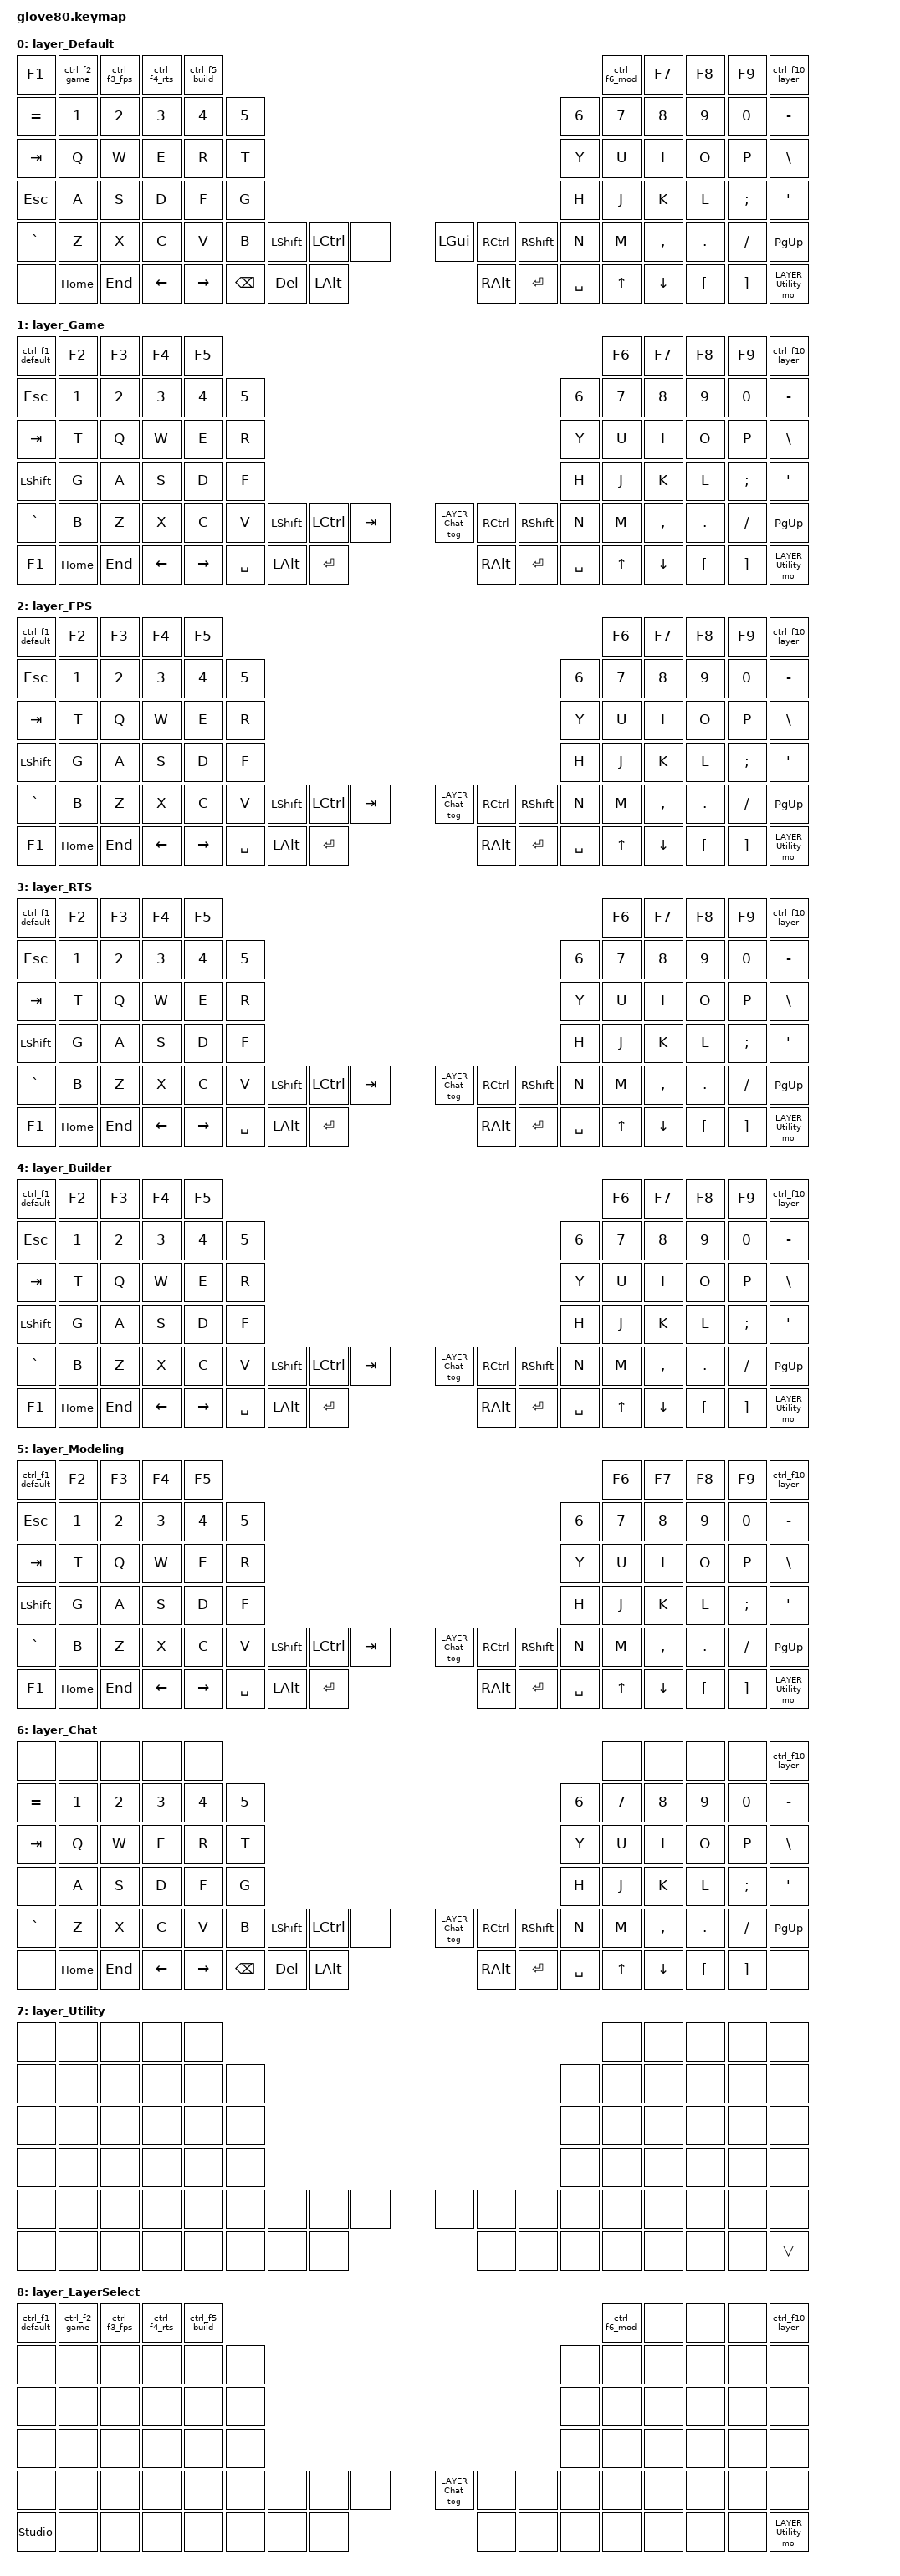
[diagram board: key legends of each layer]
/*
 * Copyright (c) 2020 The ZMK Contributors
 * Copyright (c) 2025 Innaworks Development Limited, trading as MoErgo
 *
 * SPDX-License-Identifier: MIT
 */


/* THIS FILE WAS GENERATED BY GLOVE80 LAYOUT EDITOR
 *
 * This file was generated automatically. You may or may not want to
 * edit it directly.
 */

#include <behaviors.dtsi>
/* Include all behavior includes needed */
#include <dt-bindings/zmk/outputs.h>
#include <dt-bindings/zmk/keys.h>
#include <dt-bindings/zmk/bt.h>
#include <dt-bindings/zmk/rgb.h>
#include <dt-bindings/zmk/studio.h>

/* On demand includes */


/* Helper Macros, based on https://github.com/urob/zmk-helpers/ */

//#pragma once

#define ZMK_HELPER_STRINGIFY(x) #x

// Preprocessor mechanism to overload macros, cf. https://stackoverflow.com/a/27051616/6114651
#define VARGS_(_10, _9, _8, _7, _6, _5, _4, _3, _2, _1, N, ...) N
#define VARGS(...) VARGS_(__VA_ARGS__, 10, 9, 8, 7, 6, 5, 4, 3, 2, 1, 0)
#define CONCAT_(a, b) a##b
#define CONCAT(a, b) CONCAT_(a, b)

#define ZMK_BEHAVIOR_CORE_tap_dance  \
    compatible = "zmk,behavior-tap-dance"; \
    #binding-cells = <0>

#define ZMK_BEHAVIOR(name, type, ...) \
    name: name { \
        ZMK_BEHAVIOR_CORE_ ## type; \
        __VA_ARGS__ \
    };

#define ZMK_TAP_DANCE(name, ...) \
    ZMK_BEHAVIOR(name, tap_dance, __VA_ARGS__)

#define ZMK_TD_LAYER(name, layer) \
    ZMK_TAP_DANCE(name, \
        tapping-term-ms = <200>; \
        bindings = <&mo layer>, <&to layer>; \
)

//My custom defines
#define CTRL_FKEY(name, key, layer) \
    name: name { \
        compatible = "zmk,behavior-mod-morph"; \
        label = ZMK_HELPER_STRINGIFY(name); \
        #binding-cells = <0>; \
        mods = <(MOD_LCTL | MOD_RCTL)>; \
        bindings = <&kp key>, <&to layer>; \
    };

/* Automatically generated layer name #define */
#define LAYER_Default 0
#define LAYER_Game 1
#define LAYER_FPS 2
#define LAYER_RTS 3
#define LAYER_Builder 4
#define LAYER_Modeling 5
#define LAYER_Chat 6
#define LAYER_Utility 7
#define LAYER_LayerSelect 8

/* To deal with the situation where there is no Lower layer, to keep &lower happy */
#ifndef LAYER_Lower
#define LAYER_Lower 0
#endif

/* Custom Device-tree */


/* Input Listeners */


/* System behavior and Macros */
/ {
    behaviors {
        ZMK_TD_LAYER(lower, LAYER_Lower)
        CTRL_FKEY(ctrl_f1_default, F1, LAYER_Default)
        CTRL_FKEY(ctrl_f2_game, F2, LAYER_Game)
        CTRL_FKEY(ctrl_f3_fps, F3, LAYER_FPS)
        CTRL_FKEY(ctrl_f4_rts, F4, LAYER_RTS)
        CTRL_FKEY(ctrl_f5_build, F5, LAYER_Builder)
        CTRL_FKEY(ctrl_f6_mod, F6, LAYER_Modeling)
        //CTRL_FKEY(ctrl_f7, F7, temp)
        //CTRL_FKEY(ctrl_f8, F8, temp)
        //CTRL_FKEY(ctrl_f9, F9, temp)
        CTRL_FKEY(ctrl_f10_layer, F10, LAYER_LayerSelect)
        //CTRL_FKEY(ctrl_f11, F11, temp)
        //CTRL_FKEY(ctrl_f12, F12, temp)
    };
};

/ {
    macros {
        rgb_ug_status_macro: rgb_ug_status_macro {
            label = "RGB_UG_STATUS";
            compatible = "zmk,behavior-macro";
            #binding-cells = <0>;
            bindings
                = <&rgb_ug RGB_STATUS>;
        };
    };
};


/ {
#ifdef BT_DISC_CMD
    behaviors {
        bt_0: bt_0 {
            compatible = "zmk,behavior-tap-dance";
            label = "BT_0";
            #binding-cells = <0>;
            tapping-term-ms = <200>;
            bindings = <&bt_select_0>, <&bt BT_DISC 0>;
        };
        bt_1: bt_1 {
            compatible = "zmk,behavior-tap-dance";
            label = "BT_1";
            #binding-cells = <0>;
            tapping-term-ms = <200>;
            bindings = <&bt_select_1>, <&bt BT_DISC 1>;
        };
        bt_2: bt_2 {
            compatible = "zmk,behavior-tap-dance";
            label = "BT_2";
            #binding-cells = <0>;
            tapping-term-ms = <200>;
            bindings = <&bt_select_2>, <&bt BT_DISC 2>;
        };
        bt_3: bt_3 {
            compatible = "zmk,behavior-tap-dance";
            label = "BT_3";
            #binding-cells = <0>;
            tapping-term-ms = <200>;
            bindings = <&bt_select_3>, <&bt BT_DISC 3>;
        };
    };
    macros {
        bt_select_0: bt_select_0 {
            label = "BT_SELECT_0";
            compatible = "zmk,behavior-macro";
            #binding-cells = <0>;
            bindings
                = <&out OUT_BLE>,
                  <&bt BT_SEL 0>;
        };
        bt_select_1: bt_select_1 {
            label = "BT_SELECT_1";
            compatible = "zmk,behavior-macro";
            #binding-cells = <0>;
            bindings
                = <&out OUT_BLE>,
                  <&bt BT_SEL 1>;
        };
        bt_select_2: bt_select_2 {
            label = "BT_SELECT_2";
            compatible = "zmk,behavior-macro";
            #binding-cells = <0>;
            bindings
                = <&out OUT_BLE>,
                  <&bt BT_SEL 2>;
        };
        bt_select_3: bt_select_3 {
            label = "BT_SELECT_3";
            compatible = "zmk,behavior-macro";
            #binding-cells = <0>;
            bindings
                = <&out OUT_BLE>,
                  <&bt BT_SEL 3>;
        };
    };
#else
    macros {
        bt_0: bt_0 {
            label = "BT_0";
            compatible = "zmk,behavior-macro";
            #binding-cells = <0>;
            bindings
                = <&out OUT_BLE>,
                  <&bt BT_SEL 0>;
        };
        bt_1: bt_1 {
            label = "BT_1";
            compatible = "zmk,behavior-macro";
            #binding-cells = <0>;
            bindings
                = <&out OUT_BLE>,
                  <&bt BT_SEL 1>;
        };
        bt_2: bt_2 {
            label = "BT_2";
            compatible = "zmk,behavior-macro";
            #binding-cells = <0>;
            bindings
                = <&out OUT_BLE>,
                  <&bt BT_SEL 2>;
        };
        bt_3: bt_3 {
            label = "BT_3";
            compatible = "zmk,behavior-macro";
            #binding-cells = <0>;
            bindings
                = <&out OUT_BLE>,
                  <&bt BT_SEL 3>;
        };
    };
#endif
};

/ {
    behaviors {
        magic: magic {
            compatible = "zmk,behavior-hold-tap";
            label = "MAGIC_HOLD_TAP";
            #binding-cells = <2>;
            flavor = "tap-preferred";
            tapping-term-ms = <200>;
            bindings = <&mo>, <&rgb_ug_status_macro>;
        };
    };
};


/* Key positions */

#define POS_LH_C6R1 0
#define POS_LH_C5R1 1
#define POS_LH_C4R1 2
#define POS_LH_C3R1 3
#define POS_LH_C2R1 4
#define POS_RH_C2R1 5
#define POS_RH_C3R1 6
#define POS_RH_C4R1 7
#define POS_RH_C5R1 8
#define POS_RH_C6R1 9
#define POS_LH_C6R2 10
#define POS_LH_C5R2 11
#define POS_LH_C4R2 12
#define POS_LH_C3R2 13
#define POS_LH_C2R2 14
#define POS_LH_C1R2 15
#define POS_RH_C1R2 16
#define POS_RH_C2R2 17
#define POS_RH_C3R2 18
#define POS_RH_C4R2 19
#define POS_RH_C5R2 20
#define POS_RH_C6R2 21
#define POS_LH_C6R3 22
#define POS_LH_C5R3 23
#define POS_LH_C4R3 24
#define POS_LH_C3R3 25
#define POS_LH_C2R3 26
#define POS_LH_C1R3 27
#define POS_RH_C1R3 28
#define POS_RH_C2R3 29
#define POS_RH_C3R3 30
#define POS_RH_C4R3 31
#define POS_RH_C5R3 32
#define POS_RH_C6R3 33
#define POS_LH_C6R4 34
#define POS_LH_C5R4 35
#define POS_LH_C4R4 36
#define POS_LH_C3R4 37
#define POS_LH_C2R4 38
#define POS_LH_C1R4 39
#define POS_RH_C1R4 40
#define POS_RH_C2R4 41
#define POS_RH_C3R4 42
#define POS_RH_C4R4 43
#define POS_RH_C5R4 44
#define POS_RH_C6R4 45
#define POS_LH_C6R5 46
#define POS_LH_C5R5 47
#define POS_LH_C4R5 48
#define POS_LH_C3R5 49
#define POS_LH_C2R5 50
#define POS_LH_C1R5 51
#define POS_LH_T1 52
#define POS_LH_T2 53
#define POS_LH_T3 54
#define POS_RH_T3 55
#define POS_RH_T2 56
#define POS_RH_T1 57
#define POS_RH_C1R5 58
#define POS_RH_C2R5 59
#define POS_RH_C3R5 60
#define POS_RH_C4R5 61
#define POS_RH_C5R5 62
#define POS_RH_C6R5 63
#define POS_LH_C6R6 64
#define POS_LH_C5R6 65
#define POS_LH_C4R6 66
#define POS_LH_C3R6 67
#define POS_LH_C2R6 68
#define POS_LH_T4 69
#define POS_LH_T5 70
#define POS_LH_T6 71
#define POS_RH_T6 72
#define POS_RH_T5 73
#define POS_RH_T4 74
#define POS_RH_C2R6 75
#define POS_RH_C3R6 76
#define POS_RH_C4R6 77
#define POS_RH_C5R6 78
#define POS_RH_C6R6 79


/* Custom Defined Behaviors */
/ {

};

/* Generated input processors */


/* Automatically generated macro definitions */
/ {
    macros {

    };
};

/* Automatically generated behavior definitions */
/ {
    behaviors {


    };
};
//Custom LED setup
/ {
    rgb_segments {

        /* ===== Core layer colors (F-key identity LEDs) ===== */

        ls_default: ls_default{
            compatible = "zmk,rgb-segment";
            leds = <34>;                 /* F1 */
            color = <117 117 117>;       /* DEFAULT – Sonic Silver */
        };

        ls_def_game: ls_def_game{
            compatible = "zmk,rgb-segment";
            leds = <28>;                 /* F2 */
            color = <102 51 153>;        /* GAME – Rebecca Purple */
        };

        ls_game: ls_game{
            compatible = "zmk,rgb-segment";
            leds = <34>;                 /* F1 */
            color = <102 51 153>;        /* GAME – Rebecca Purple */
        };

        ls_def_fps: ls_def_fps{
            compatible = "zmk,rgb-segment";
            leds = <22>;                 /* F3 */
            color = <255 0 0>;           /* FPS – Red */
        };

        ls_fps: ls_fps{
            compatible = "zmk,rgb-segment";
            leds = <34>;                 /* F1 */
            color = <255 0 0>;           /* FPS – Red */
        };

        ls_def_rts: ls_def_rts{
            compatible = "zmk,rgb-segment";
            leds = <16>;                 /* F4 */
            color = <0 0 255>;           /* RTS – Blue */
        };

        ls_rts: ls_rts{
            compatible = "zmk,rgb-segment";
            leds = <34>;                 /* F1 */
            color = <0 0 255>;           /* RTS – Blue */
        };

        ls_def_builder: ls_def_builder{
            compatible = "zmk,rgb-segment";
            leds = <10>;                 /* F5 */
            color = <118 255 122>;       /* BUILDER – Screamin Green */
        };

        ls_builder: ls_builder{
            compatible = "zmk,rgb-segment";
            leds = <34>;                 /* F1 */
            color = <118 255 122>;       /* BUILDER – Screamin Green */
        };

        /* ===== Overlay / mode colors (F1 indicator, RHS placeholder) ===== */

        ls_modeling: ls_modeling{
            compatible = "zmk,rgb-segment";
            leds = <34>;                 /* F1 */
            color = <252 194 0>;         /* MODELING – Golden Poppy */
        };

        ls_chat: ls_chat{
            compatible = "zmk,rgb-segment";
            leds = <34>;                 /* F1 */
            color = <10 186 181>;        /* CHAT – Teal */
        };

        ls_utility: ls_utility{
            compatible = "zmk,rgb-segment";
            leds = <34>;                 /* F1 */
            color = <72 61 139>;         /* UTILITY – Cyan */
        };

        /* ===== LayerSelect letter keys (placeholders until RHS mapping) ===== */

        ls_ls_default: ls_ls_default {
            compatible = "zmk,rgb-segment";
            leds = <24>;
            color = <117 117 117>;
        }; /* W */
        ls_ls_game: ls_ls_game   {
            compatible = "zmk,rgb-segment";
            leds = <18>;
            color = <102 51 153>;
        }; /* E */
        ls_ls_fps: ls_ls_fps    { 
            compatible = "zmk,rgb-segment";
            leds = <12>; 
            color = <255 0 0>;
        };    /* R */
        ls_ls_rts: ls_ls_rts    { 
            compatible = "zmk,rgb-segment";
            leds = <25>;
            color = <0 0 255>;
        };    /* S */
        ls_ls_build: ls_ls_build  {
            compatible = "zmk,rgb-segment"; 
            leds = <19>;
            color = <118 255 122>;
        };/* D */
        ls_ls_model: ls_ls_model   {
            compatible = "zmk,rgb-segment";
            leds = <13>;
            color = <252 194 0>;
        };  /* G */
    };
};


/ {
    rgb_layers {

        /* ===== DEFAULT: F1–F5 show destination layer colors ===== */
        rgb_default {
            layer = <LAYER_Default>;
            segments = <
                &ls_default
                &ls_def_game
                &ls_def_fps
                &ls_def_rts
                &ls_def_builder

                &ls_ls_default
                &ls_ls_game
                &ls_ls_fps
                &ls_ls_rts
                &ls_ls_build
                &ls_ls_model
            >;
        };

        /* ===== GAME / FPS / RTS / BUILDER: F1 shows current layer ===== */

        rgb_game {
            layer = <LAYER_Game>;
            segments = <&ls_game>;
        };

        rgb_fps {
            layer = <LAYER_FPS>;
            segments = <&ls_fps>;
        };

        rgb_rts {
            layer = <LAYER_RTS>;
            segments = <&ls_rts>;
        };

        rgb_builder {
            layer = <LAYER_Builder>;
            segments = <&ls_builder>;
        };

        /* ===== MODELING / CHAT / UTILITY: F1 identity indicator ===== */

        rgb_modeling {
            layer = <LAYER_Modeling>;
            segments = <&ls_modeling>;
        };

        rgb_chat {
            layer = <LAYER_Chat>;
            segments = <&ls_chat>;
        };

        rgb_utility {
            layer = <LAYER_Utility>;
            segments = <&ls_utility>;
        };

        /* ===== LAYERSELECT: DEFAULT behavior + routing keys ===== */

        rgb_layerselect {
            layer = <LAYER_LayerSelect>;
            segments = <
                /* F1–F5 legend */
                &ls_default
                &ls_def_game
                &ls_def_fps
                &ls_def_rts
                &ls_def_builder

                /* Letter-key routing */
                &ls_ls_default
                &ls_ls_game
                &ls_ls_fps
                &ls_ls_rts
                &ls_ls_build
                &ls_ls_model
            >;
        };
    };
};


/* Automatically generated combos definitions */


/* Automatically generated keymap */
/ {
    keymap {
        compatible = "zmk,keymap";


        layer_Default {
            bindings = <
    &kp F1  &ctrl_f2_game  &ctrl_f3_fps  &ctrl_f4_rts  &ctrl_f5_build                                                                                  &ctrl_f6_mod     &kp F7    &kp F8    &kp F9  &ctrl_f10_layer
 &kp EQUAL          &kp N1         &kp N2         &kp N3             &kp N4  &kp N5                                                                  &kp N6              &kp N7     &kp N8    &kp N9    &kp N0              &kp MINUS
   &kp TAB           &kp Q          &kp W          &kp E              &kp R   &kp T                                                                   &kp Y               &kp U      &kp I     &kp O     &kp P               &kp BSLH
   &kp ESC           &kp A          &kp S          &kp D              &kp F   &kp G                                                                   &kp H               &kp J      &kp K     &kp L  &kp SEMI                &kp SQT
 &kp GRAVE           &kp Z          &kp X          &kp C              &kp V   &kp B  &kp LSHFT  &kp LCTRL     &none  &kp LGUI  &kp RCTRL  &kp RSHFT   &kp N               &kp M  &kp COMMA   &kp DOT  &kp FSLH              &kp PG_UP
     &none        &kp HOME        &kp END       &kp LEFT          &kp RIGHT           &kp BSPC    &kp DEL  &kp LALT  &kp RALT    &kp RET  &kp SPACE                      &kp UP   &kp DOWN  &kp LBKT  &kp RBKT      &mo LAYER_Utility
            >;
        };

        layer_Game {
            bindings = <
     &ctrl_f1_default    &kp F2   &kp F3    &kp F4     &kp F5                                                                                        &kp F6     &kp F7    &kp F8    &kp F9  &ctrl_f10_layer
   &kp ESC    &kp N1   &kp N2    &kp N3     &kp N4  &kp N5                                                                        &kp N6  &kp N7     &kp N8    &kp N9    &kp N0              &kp MINUS
   &kp TAB     &kp T    &kp Q     &kp W      &kp E   &kp R                                                                         &kp Y   &kp U      &kp I     &kp O     &kp P               &kp BSLH
 &kp LSHFT     &kp G    &kp A     &kp S      &kp D   &kp F                                                                         &kp H   &kp J      &kp K     &kp L  &kp SEMI                &kp SQT
 &kp GRAVE     &kp B    &kp Z     &kp X      &kp C   &kp V  &kp LSHFT  &kp LCTRL  &kp TAB  &tog LAYER_Chat  &kp RCTRL  &kp RSHFT   &kp N   &kp M  &kp COMMA   &kp DOT  &kp FSLH              &kp PG_UP
    &kp F1  &kp HOME  &kp END  &kp LEFT  &kp RIGHT          &kp SPACE   &kp LALT  &kp RET         &kp RALT    &kp RET  &kp SPACE          &kp UP   &kp DOWN  &kp LBKT  &kp RBKT      &mo LAYER_Utility
            >;
        };

        layer_FPS {
            bindings = <
     &ctrl_f1_default    &kp F2   &kp F3    &kp F4     &kp F5                                                                                        &kp F6     &kp F7    &kp F8    &kp F9  &ctrl_f10_layer
   &kp ESC    &kp N1   &kp N2    &kp N3     &kp N4  &kp N5                                                                        &kp N6  &kp N7     &kp N8    &kp N9    &kp N0              &kp MINUS
   &kp TAB     &kp T    &kp Q     &kp W      &kp E   &kp R                                                                         &kp Y   &kp U      &kp I     &kp O     &kp P               &kp BSLH
 &kp LSHFT     &kp G    &kp A     &kp S      &kp D   &kp F                                                                         &kp H   &kp J      &kp K     &kp L  &kp SEMI                &kp SQT
 &kp GRAVE     &kp B    &kp Z     &kp X      &kp C   &kp V  &kp LSHFT  &kp LCTRL  &kp TAB  &tog LAYER_Chat  &kp RCTRL  &kp RSHFT   &kp N   &kp M  &kp COMMA   &kp DOT  &kp FSLH              &kp PG_UP
    &kp F1  &kp HOME  &kp END  &kp LEFT  &kp RIGHT          &kp SPACE   &kp LALT  &kp RET         &kp RALT    &kp RET  &kp SPACE          &kp UP   &kp DOWN  &kp LBKT  &kp RBKT      &mo LAYER_Utility
            >;
        };

        layer_RTS {
            bindings = <
     &ctrl_f1_default    &kp F2   &kp F3    &kp F4     &kp F5                                                                                        &kp F6     &kp F7    &kp F8    &kp F9  &ctrl_f10_layer
   &kp ESC    &kp N1   &kp N2    &kp N3     &kp N4  &kp N5                                                                        &kp N6  &kp N7     &kp N8    &kp N9    &kp N0              &kp MINUS
   &kp TAB     &kp T    &kp Q     &kp W      &kp E   &kp R                                                                         &kp Y   &kp U      &kp I     &kp O     &kp P               &kp BSLH
 &kp LSHFT     &kp G    &kp A     &kp S      &kp D   &kp F                                                                         &kp H   &kp J      &kp K     &kp L  &kp SEMI                &kp SQT
 &kp GRAVE     &kp B    &kp Z     &kp X      &kp C   &kp V  &kp LSHFT  &kp LCTRL  &kp TAB  &tog LAYER_Chat  &kp RCTRL  &kp RSHFT   &kp N   &kp M  &kp COMMA   &kp DOT  &kp FSLH              &kp PG_UP
    &kp F1  &kp HOME  &kp END  &kp LEFT  &kp RIGHT          &kp SPACE   &kp LALT  &kp RET         &kp RALT    &kp RET  &kp SPACE          &kp UP   &kp DOWN  &kp LBKT  &kp RBKT      &mo LAYER_Utility
            >;
        };

        layer_Builder {
            bindings = <
     &ctrl_f1_default    &kp F2   &kp F3    &kp F4     &kp F5                                                                                        &kp F6     &kp F7    &kp F8    &kp F9  &ctrl_f10_layer
   &kp ESC    &kp N1   &kp N2    &kp N3     &kp N4  &kp N5                                                                        &kp N6  &kp N7     &kp N8    &kp N9    &kp N0              &kp MINUS
   &kp TAB     &kp T    &kp Q     &kp W      &kp E   &kp R                                                                         &kp Y   &kp U      &kp I     &kp O     &kp P               &kp BSLH
 &kp LSHFT     &kp G    &kp A     &kp S      &kp D   &kp F                                                                         &kp H   &kp J      &kp K     &kp L  &kp SEMI                &kp SQT
 &kp GRAVE     &kp B    &kp Z     &kp X      &kp C   &kp V  &kp LSHFT  &kp LCTRL  &kp TAB  &tog LAYER_Chat  &kp RCTRL  &kp RSHFT   &kp N   &kp M  &kp COMMA   &kp DOT  &kp FSLH              &kp PG_UP
    &kp F1  &kp HOME  &kp END  &kp LEFT  &kp RIGHT          &kp SPACE   &kp LALT  &kp RET         &kp RALT    &kp RET  &kp SPACE          &kp UP   &kp DOWN  &kp LBKT  &kp RBKT      &mo LAYER_Utility
            >;
        };

        layer_Modeling {
            bindings = <
     &ctrl_f1_default    &kp F2   &kp F3    &kp F4     &kp F5                                                                                        &kp F6     &kp F7    &kp F8    &kp F9  &ctrl_f10_layer
   &kp ESC    &kp N1   &kp N2    &kp N3     &kp N4  &kp N5                                                                        &kp N6  &kp N7     &kp N8    &kp N9    &kp N0              &kp MINUS
   &kp TAB     &kp T    &kp Q     &kp W      &kp E   &kp R                                                                         &kp Y   &kp U      &kp I     &kp O     &kp P               &kp BSLH
 &kp LSHFT     &kp G    &kp A     &kp S      &kp D   &kp F                                                                         &kp H   &kp J      &kp K     &kp L  &kp SEMI                &kp SQT
 &kp GRAVE     &kp B    &kp Z     &kp X      &kp C   &kp V  &kp LSHFT  &kp LCTRL  &kp TAB  &tog LAYER_Chat  &kp RCTRL  &kp RSHFT   &kp N   &kp M  &kp COMMA   &kp DOT  &kp FSLH              &kp PG_UP
    &kp F1  &kp HOME  &kp END  &kp LEFT  &kp RIGHT          &kp SPACE   &kp LALT  &kp RET         &kp RALT    &kp RET  &kp SPACE          &kp UP   &kp DOWN  &kp LBKT  &kp RBKT      &mo LAYER_Utility
            >;
        };

        layer_Chat {
            bindings = <
     &none     &none    &none     &none      &none                                                                                          &none      &none     &none     &none  &ctrl_f10_layer
 &kp EQUAL    &kp N1   &kp N2    &kp N3     &kp N4  &kp N5                                                                         &kp N6  &kp N7     &kp N8    &kp N9    &kp N0              &kp MINUS
   &kp TAB     &kp Q    &kp W     &kp E      &kp R   &kp T                                                                          &kp Y   &kp U      &kp I     &kp O     &kp P               &kp BSLH
     &none     &kp A    &kp S     &kp D      &kp F   &kp G                                                                          &kp H   &kp J      &kp K     &kp L  &kp SEMI                &kp SQT
 &kp GRAVE     &kp Z    &kp X     &kp C      &kp V   &kp B  &kp LSHFT  &kp LCTRL     &none  &tog LAYER_Chat  &kp RCTRL  &kp RSHFT   &kp N   &kp M  &kp COMMA   &kp DOT  &kp FSLH              &kp PG_UP
     &none  &kp HOME  &kp END  &kp LEFT  &kp RIGHT           &kp BSPC    &kp DEL  &kp LALT         &kp RALT    &kp RET  &kp SPACE          &kp UP   &kp DOWN  &kp LBKT  &kp RBKT                  &none
            >;
        };

        layer_Utility {
            bindings = <
    &none     &none    &none     &none      &none                                                                                  &none     &none    &none    &none      &none
    &none    &none   &none    &none     &none  &none                                                                  &none  &none     &none    &none    &none  &none
     &none     &none    &none     &none      &none   &none                                                                   &none   &none      &none     &none     &none   &none
     &none     &none    &none     &none      &none   &none                                                                   &none   &none      &none     &none  &none    &none
     &none     &none    &none     &none      &none   &none  &none  &none     &none  &none  &none  &none   &none   &none  &none   &none  &none  &none
     &none  &none  &none  &none  &none           &none    &none  &none  &none    &none  &none          &none   &none  &none  &none     &trans
            >;
        };

        layer_LayerSelect {
            bindings = <
     &ctrl_f1_default  &ctrl_f2_game  &ctrl_f3_fps  &ctrl_f4_rts  &ctrl_f5_build                                                                                         &ctrl_f6_mod     &none    &none    &none  &ctrl_f10_layer
 &none          &none         &none         &none             &none  &none                                                                         &none              &none     &none    &none    &none              &none
   &none           &none          &none          &none              &none   &none                                                                          &none               &none      &none     &none     &none               &none
   &none           &none          &none          &none              &none   &none                                                                          &none               &none      &none     &none  &none                &none
 &none           &none          &none          &none              &none   &none  &none  &none     &none  &tog LAYER_Chat  &none  &none   &none               &none  &none   &none  &none              &none
     &studio_unlock        &none        &none       &none          &none           &none    &none  &none         &none    &none  &none                      &none   &none  &none  &none      &mo LAYER_Utility
            >;
        };

    };
};
